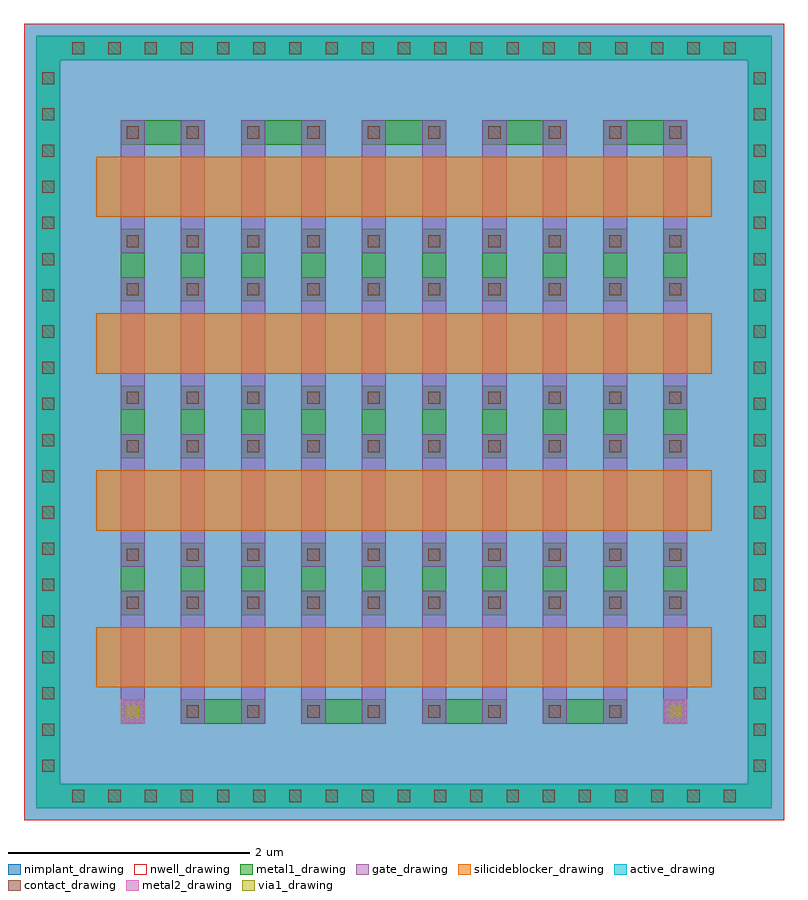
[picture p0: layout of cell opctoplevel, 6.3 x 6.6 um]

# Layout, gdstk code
import gdstk
lib = gdstk.Library(unit=1e-6, precision=1e-09)
def R(c, l, rs):  # rectangles x0, y0, x1, y1
    for r in rs: c.add(gdstk.rectangle(r[:2], r[2:], *l))
def A(c, l, x, y, w, h, nx, ny, dx, dy):  # array of equal rectangles
    R(c, l, [(x+i*dx, y+j*dy, x+i*dx+w, y+j*dy+h) for i in range(nx) for j in range(ny)])
active_drawing = (1, 0)
nwell_drawing = (3, 0)
nimplant_drawing = (5, 0)
gate_drawing = (6, 0)
contact_drawing = (7, 0)
metal1_drawing = (8, 0)
via1_drawing = (9, 0)
metal2_drawing = (10, 0)
silicideblocker_drawing = (28, 0)

opctoplevel = lib.new_cell('opctoplevel')
R(opctoplevel, active_drawing, [(-0.7,-0.7,5.4,-0.5), (-0.7,-0.7,-0.5,5.7), (5.2,-0.7,5.4,5.7), (-0.7,5.5,5.4,5.7)])
R(opctoplevel, nwell_drawing, [(-0.8,-0.8,5.5,5.8)])
R(opctoplevel, nimplant_drawing, [(-0.8,-0.8,5.5,-0.4), (-0.8,-0.8,-0.4,5.8), (5.1,-0.8,5.5,5.8), (-0.4,-0.4,5.1,5.4), (-0.8,5.4,5.5,5.8)])
A(opctoplevel, gate_drawing, 0, 0, 0.2, 1.1, 10, 4, 0.5, 1.3)
A(opctoplevel, gate_drawing, 0, 0, 0.2, 0.2, 10, 2, 0.5, 0.9)
A(opctoplevel, gate_drawing, 0, 1.3, 0.2, 0.2, 10, 2, 0.5, 0.9)
A(opctoplevel, gate_drawing, 0, 2.6, 0.2, 0.2, 10, 2, 0.5, 0.9)
A(opctoplevel, gate_drawing, 0, 3.9, 0.2, 0.2, 10, 2, 0.5, 0.9)
A(opctoplevel, contact_drawing, -0.4, -0.65, 0.1, 0.1, 19, 2, 0.3, 6.2)
A(opctoplevel, contact_drawing, -0.65, -0.4, 0.1, 0.1, 1, 20, 0, 0.3)
A(opctoplevel, contact_drawing, 5.25, -0.4, 0.1, 0.1, 1, 20, 0, 0.3)
A(opctoplevel, contact_drawing, 0.05, 0.05, 0.1, 0.1, 10, 2, 0.5, 0.9)
A(opctoplevel, contact_drawing, 0.05, 1.35, 0.1, 0.1, 10, 2, 0.5, 0.9)
A(opctoplevel, contact_drawing, 0.05, 2.65, 0.1, 0.1, 10, 2, 0.5, 0.9)
A(opctoplevel, contact_drawing, 0.05, 3.95, 0.1, 0.1, 10, 2, 0.5, 0.9)
A(opctoplevel, metal1_drawing, 0, 0, 0.2, 0.2, 10, 2, 0.5, 0.9)
A(opctoplevel, metal1_drawing, 0.5, 0, 0.7, 0.2, 4, 1, 1, 0)
A(opctoplevel, metal1_drawing, 0, 0.9, 0.2, 0.6, 10, 3, 0.5, 1.3)
A(opctoplevel, metal1_drawing, 0, 1.3, 0.2, 0.2, 10, 2, 0.5, 0.9)
A(opctoplevel, metal1_drawing, 0, 2.6, 0.2, 0.2, 10, 2, 0.5, 0.9)
A(opctoplevel, metal1_drawing, 0, 3.9, 0.2, 0.2, 10, 2, 0.5, 0.9)
A(opctoplevel, metal1_drawing, 0, 4.8, 0.7, 0.2, 5, 1, 1, 0)
R(opctoplevel, metal1_drawing, [(-0.7,-0.7,5.4,-0.5), (-0.7,-0.7,-0.5,5.7), (5.2,-0.7,5.4,5.7), (0,0,0.2,0.2), (4.5,0,4.7,0.2), (-0.7,5.5,5.4,5.7)])
R(opctoplevel, via1_drawing, [(0.05,0.05,0.15,0.15), (4.55,0.05,4.65,0.15)])
R(opctoplevel, metal2_drawing, [(0,0,0.2,0.2), (4.5,0,4.7,0.2)])
A(opctoplevel, silicideblocker_drawing, -0.2, 0.3, 5.1, 0.5, 1, 4, 0, 1.3)

lib.write_gds('opctoplevel.gds')
